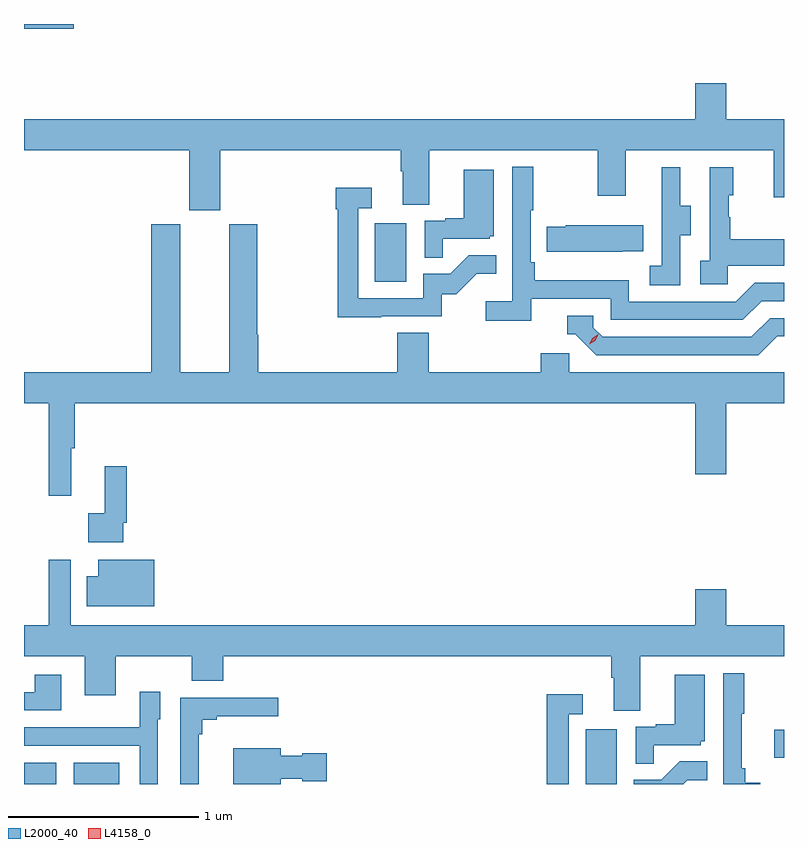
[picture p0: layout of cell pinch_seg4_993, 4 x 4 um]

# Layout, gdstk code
import gdstk
lib = gdstk.Library(unit=1e-6, precision=1e-09)
def R(c, l, rs):  # rectangles x0, y0, x1, y1
    for r in rs: c.add(gdstk.rectangle(r[:2], r[2:], *l))
def P(c, l, *ps):  # polygons
    for p in ps: c.add(gdstk.Polygon(p, *l))
L2000_40 = (2000, 40)
L4158_0 = (4158, 0)

pinch_seg4_993 = lib.new_cell('pinch_seg4_993')
R(pinch_seg4_993, L2000_40, [(796.839,781.496,797.008,781.609), (797.102,781.496,797.341,781.609), (799.796,781.496,799.96,781.783), (800.787,781.634,800.839,781.782), (798.686,784.14,798.85,784.447), (796.839,785.47,797.101,785.496)])
P(pinch_seg4_993, L2000_40, [(797.872,784.832),(798.821,784.832),(798.821,784.72),(798.833,784.72),(798.833,784.546),(798.973,784.546),(798.973,784.832),(799.858,784.832),(799.858,784.593),(800.005,784.593),(800.005,784.832),(800.786,784.832),(800.786,784.584),(800.839,784.584),(800.839,784.996),(800.536,784.996),(800.536,785.185),(800.372,785.185),(800.372,784.996),(796.839,784.996),(796.839,784.832),(797.708,784.832),(797.708,784.515),(797.872,784.515)],
  [(799.508,784.05),(799.926,784.05),(799.926,783.939),(800.623,783.939),(800.722,784.038),(800.839,784.038),(800.839,784.134),(800.685,784.134),(800.586,784.035),(800.022,784.035),(800.022,784.147),(799.526,784.147),(799.526,784.243),(799.506,784.243),(799.506,784.516),(799.519,784.516),(799.519,784.744),(799.41,784.744),(799.41,784.036),(799.269,784.036),(799.269,783.934),(799.508,783.934)],
  [(800.292,784.384),(800.347,784.384),(800.347,784.539),(800.293,784.539),(800.293,784.741),(800.195,784.741),(800.195,784.527),(800.196,784.527),(800.196,784.223),(800.133,784.223),(800.133,784.12),(800.292,784.12)],
  [(800.544,784.223),(800.839,784.223),(800.839,784.363),(800.557,784.363),(800.557,784.478),(800.547,784.478),(800.547,784.596),(800.572,784.596),(800.572,784.741),(800.448,784.741),(800.448,784.25),(800.397,784.25),(800.397,784.125),(800.544,784.125)],
  [(799.043,784.365),(799.29,784.365),(799.29,784.38),(799.312,784.38),(799.312,784.729),(799.154,784.729),(799.154,784.474),(799.055,784.474),(799.055,784.461),(798.948,784.461),(798.948,784.267),(799.043,784.267)],
  [(798.719,783.957),(799.038,783.957),(799.038,784.074),(799.114,784.074),(799.221,784.181),(799.325,784.181),(799.325,784.28),(799.181,784.28),(799.083,784.182),(798.939,784.182),(798.939,784.053),(798.597,784.053),(798.597,784.527),(798.67,784.527),(798.67,784.633),(798.481,784.633),(798.481,784.52),(798.489,784.52),(798.489,783.952),(798.719,783.952)],
  [(799.991,784.301),(800.099,784.301),(800.099,784.438),(799.689,784.438),(799.689,784.428),(799.591,784.428),(799.591,784.298),(799.991,784.298)],
  [(800.803,783.852),(800.839,783.852),(800.839,783.948),(800.766,783.948),(800.667,783.849),(799.884,783.849),(799.836,783.897),(799.836,783.96),(799.697,783.96),(799.697,783.864),(799.74,783.864),(799.851,783.753),(800.704,783.753)],
  [(797.918,784.443),(797.918,783.664),(797.662,783.664),(797.662,784.443),(797.51,784.443),(797.51,783.664),(796.839,783.664),(796.839,783.5),(796.969,783.5),(796.969,783.012),(797.087,783.012),(797.087,783.264),(797.105,783.264),(797.105,783.5),(800.372,783.5),(800.372,783.126),(800.536,783.126),(800.536,783.5),(800.839,783.5),(800.839,783.664),(799.71,783.664),(799.71,783.762),(799.559,783.762),(799.559,783.664),(798.968,783.664),(798.968,783.872),(798.803,783.872),(798.803,783.664),(798.071,783.664),(798.071,783.86),(798.066,783.86),(798.066,784.443)],
  [(797.361,782.872),(797.381,782.872),(797.381,783.169),(797.264,783.169),(797.264,782.921),(797.178,782.921),(797.178,782.768),(797.361,782.768)],
  [(800.083,782.168),(800.839,782.168),(800.839,782.332),(800.536,782.332),(800.536,782.521),(800.372,782.521),(800.372,782.332),(797.085,782.332),(797.085,782.677),(796.969,782.677),(796.969,782.332),(796.839,782.332),(796.839,782.168),(797.159,782.168),(797.159,781.962),(797.323,781.962),(797.323,782.168),(797.723,782.168),(797.723,782.04),(797.887,782.04),(797.887,782.168),(799.931,782.168),(799.931,782.056),(799.943,782.056),(799.943,781.882),(800.083,781.882)],
  [(797.524,782.677),(797.231,782.677),(797.231,782.59),(797.17,782.59),(797.17,782.432),(797.524,782.432)],
  [(800.713,781.502),(800.636,781.502),(800.636,781.579),(800.617,781.579),(800.617,781.867),(800.629,781.867),(800.629,782.08),(800.52,782.08),(800.52,781.496),(800.713,781.496)],
  [(800.153,781.701),(800.4,781.701),(800.4,781.722),(800.422,781.722),(800.422,782.071),(800.264,782.071),(800.264,781.81),(800.165,781.81),(800.165,781.797),(800.058,781.797),(800.058,781.603),(800.153,781.603)],
  [(797.035,782.071),(796.895,782.071),(796.895,781.98),(796.839,781.98),(796.839,781.884),(797.035,781.884)],
  [(797.544,781.836),(797.557,781.836),(797.557,781.981),(797.448,781.981),(797.448,781.795),(797.131,781.795),(797.131,781.794),(796.839,781.794),(796.839,781.698),(797.448,781.698),(797.448,781.496),(797.544,781.496)],
  [(799.707,781.863),(799.78,781.863),(799.78,781.969),(799.591,781.969),(799.591,781.496),(799.707,781.496)],
  [(797.759,781.757),(797.777,781.757),(797.777,781.834),(797.854,781.834),(797.854,781.853),(798.178,781.853),(798.178,781.95),(797.661,781.95),(797.661,781.496),(797.759,781.496)],
  [(798.19,781.523),(798.303,781.523),(798.303,781.511),(798.433,781.511),(798.433,781.658),(798.303,781.658),(798.303,781.645),(798.19,781.645),(798.19,781.684),(797.939,781.684),(797.939,781.496),(798.19,781.496)],
  [(800.331,781.517),(800.435,781.517),(800.435,781.616),(800.291,781.616),(800.193,781.518),(800.049,781.518),(800.049,781.496),(800.31,781.496)])
P(pinch_seg4_993, L4158_0, [(799.814,783.81),(799.814,783.81),(799.83,783.842),(799.861,783.862),(799.861,783.862),(799.861,783.862),(799.845,783.829),(799.815,783.81)])

lib.write_gds('pinch_seg4_993.gds')
